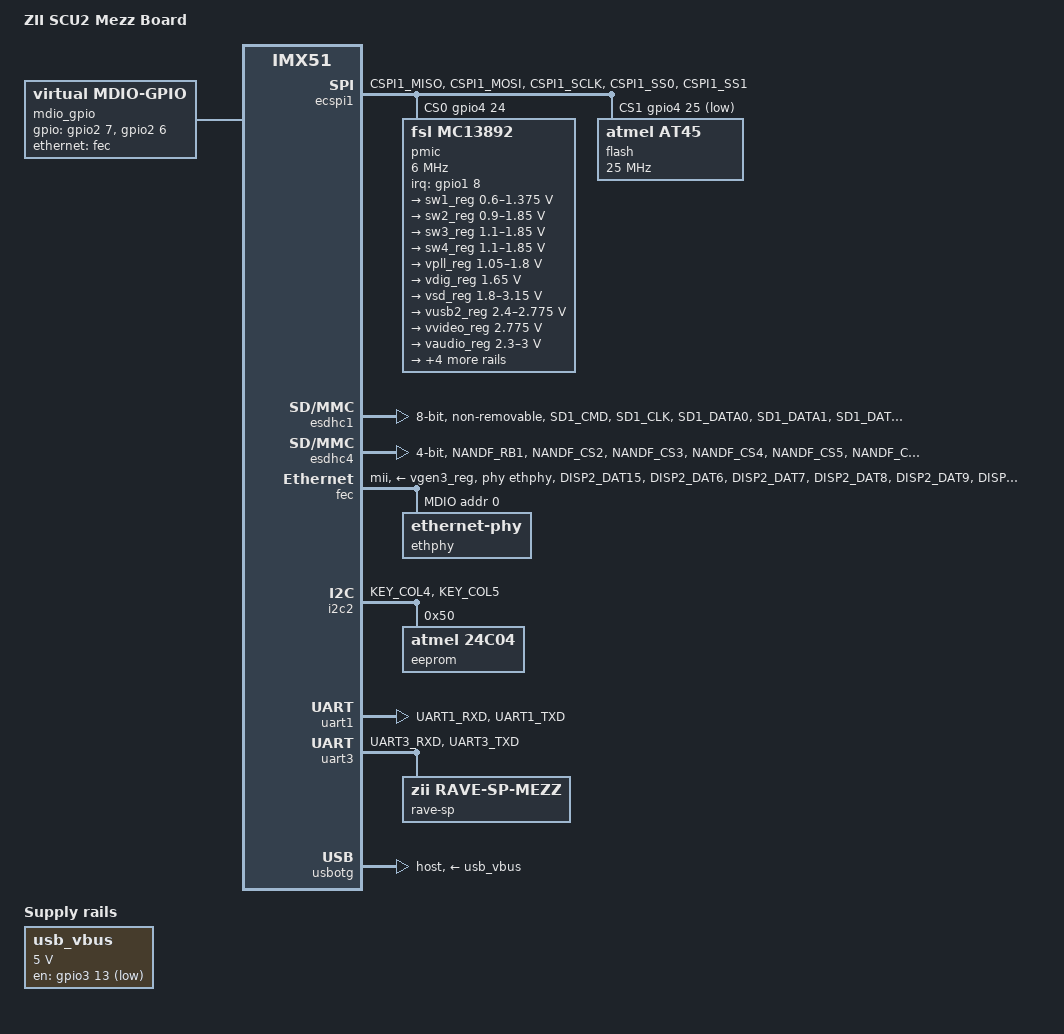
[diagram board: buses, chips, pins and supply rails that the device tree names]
// SPDX-License-Identifier: (GPL-2.0 OR MIT)

/*
 * Copyright (C) 2018 Zodiac Inflight Innovations
 */

/dts-v1/;

#include "imx51.dtsi"

/ {
	model = "ZII SCU2 Mezz Board";
	compatible = "zii,imx51-scu2-mezz", "fsl,imx51";

	chosen {
		stdout-path = &uart1;
	};

	/* Will be filled by the bootloader */
	memory@90000000 {
		reg = <0x90000000 0>;
	};

	aliases {
		mdio-gpio0 = &mdio_gpio;
	};

	usb_vbus: regulator-usb-vbus {
		compatible = "regulator-fixed";
		pinctrl-names = "default";
		pinctrl-0 = <&pinctrl_usb_mmc_reset>;
		gpio = <&gpio3 13 GPIO_ACTIVE_LOW>;
		startup-delay-us = <150000>;
		regulator-name = "usb_vbus";
		regulator-min-microvolt = <5000000>;
		regulator-max-microvolt = <5000000>;
	};

	mdio_gpio: mdio-gpio {
		compatible = "virtual,mdio-gpio";
		pinctrl-names = "default";
		pinctrl-0 = <&pinctrl_swmdio>;
		gpios = <&gpio2 7 GPIO_ACTIVE_HIGH>, /* mdc */
			<&gpio2 6 GPIO_ACTIVE_HIGH>; /* mdio */
		#address-cells = <1>;
		#size-cells = <0>;

		switch@0 {
			compatible = "marvell,mv88e6085";
			reg = <0>;
			dsa,member = <0 0>;
			eeprom-length = <512>;
			interrupt-parent = <&gpio1>;
			interrupts = <7 IRQ_TYPE_LEVEL_LOW>;
			interrupt-controller;
			#interrupt-cells = <2>;

			ports {
				#address-cells = <1>;
				#size-cells = <0>;

				port@0 {
					reg = <0>;
					label = "port4";
				};

				port@1 {
					reg = <1>;
					label = "port5";
				};

				port@2 {
					reg = <2>;
					label = "port6";
				};

				port@3 {
					reg = <3>;
					label = "port7";
				};

				port@4 {
					reg = <4>;
					label = "cpu";
					ethernet = <&fec>;

					fixed-link {
						speed = <100>;
						full-duplex;
					};
				};

				port@5 {
					reg = <5>;
					label = "mezz2esb";
					phy-mode = "sgmii";

					fixed-link {
						speed = <1000>;
						full-duplex;
					};
				};
			};
		};
	};
};

&cpu {
	cpu-supply = <&sw1_reg>;
};

&ecspi1 {
	pinctrl-names = "default";
	pinctrl-0 = <&pinctrl_ecspi1>;
	cs-gpios = <&gpio4 24 GPIO_ACTIVE_HIGH>,
		   <&gpio4 25 GPIO_ACTIVE_LOW>;
	status = "okay";

	pmic@0 {
		compatible = "fsl,mc13892";
		pinctrl-names = "default";
		pinctrl-0 = <&pinctrl_pmic>;
		spi-max-frequency = <6000000>;
		spi-cs-high;
		reg = <0>;
		interrupt-parent = <&gpio1>;
		interrupts = <8 IRQ_TYPE_LEVEL_HIGH>;
		fsl,mc13xxx-uses-adc;

		regulators {
			sw1_reg: sw1 {
				regulator-min-microvolt = <600000>;
				regulator-max-microvolt = <1375000>;
				regulator-boot-on;
				regulator-always-on;
			};

			sw2_reg: sw2 {
				regulator-min-microvolt = <900000>;
				regulator-max-microvolt = <1850000>;
				regulator-boot-on;
				regulator-always-on;
			};

			sw3_reg: sw3 {
				regulator-min-microvolt = <1100000>;
				regulator-max-microvolt = <1850000>;
				regulator-boot-on;
				regulator-always-on;
			};

			sw4_reg: sw4 {
				regulator-min-microvolt = <1100000>;
				regulator-max-microvolt = <1850000>;
				regulator-boot-on;
				regulator-always-on;
			};

			vpll_reg: vpll {
				regulator-min-microvolt = <1050000>;
				regulator-max-microvolt = <1800000>;
				regulator-boot-on;
				regulator-always-on;
			};

			vdig_reg: vdig {
				regulator-min-microvolt = <1650000>;
				regulator-max-microvolt = <1650000>;
				regulator-boot-on;
			};

			vsd_reg: vsd {
				regulator-min-microvolt = <1800000>;
				regulator-max-microvolt = <3150000>;
				regulator-always-on;
			};

			vusb_reg: vusb {
				regulator-always-on;
			};

			vusb2_reg: vusb2 {
				regulator-min-microvolt = <2400000>;
				regulator-max-microvolt = <2775000>;
				regulator-boot-on;
				regulator-always-on;
			};

			vvideo_reg: vvideo {
				regulator-min-microvolt = <2775000>;
				regulator-max-microvolt = <2775000>;
			};

			vaudio_reg: vaudio {
				regulator-min-microvolt = <2300000>;
				regulator-max-microvolt = <3000000>;
			};

			vcam_reg: vcam {
				regulator-min-microvolt = <2500000>;
				regulator-max-microvolt = <3000000>;
			};

			vgen1_reg: vgen1 {
				regulator-min-microvolt = <1200000>;
				regulator-max-microvolt = <1200000>;
			};

			vgen2_reg: vgen2 {
				regulator-min-microvolt = <1200000>;
				regulator-max-microvolt = <3150000>;
				regulator-always-on;
			};

			vgen3_reg: vgen3 {
				regulator-min-microvolt = <1800000>;
				regulator-max-microvolt = <2900000>;
				regulator-always-on;
			};
		};

		leds {
			#address-cells = <1>;
			#size-cells = <0>;
			led-control = <0x0 0x0 0x3f83f8 0x0>;

			sysled3: led3@3 {
				reg = <3>;
				label = "system:red:power";
				linux,default-trigger = "default-on";
			};

			sysled4: led4@4 {
				reg = <4>;
				label = "system:green:act";
				linux,default-trigger = "heartbeat";
			};
		};
	};

	flash@1 {
		compatible = "atmel,at45", "atmel,dataflash";
		reg = <1>;
		spi-max-frequency = <25000000>;
	};
};

&esdhc1 {
	pinctrl-names = "default";
	pinctrl-0 = <&pinctrl_esdhc1>;
	bus-width = <8>;
	non-removable;
	no-1-8-v;
	no-sdio;
	no-sd;
	status = "okay";
};

&esdhc4 {
	pinctrl-names = "default";
	pinctrl-0 = <&pinctrl_esdhc4>;
	bus-width = <4>;
	no-1-8-v;
	no-sdio;
	cd-gpios = <&gpio4 8 GPIO_ACTIVE_LOW>;
	status = "okay";
};

&fec {
	pinctrl-names = "default";
	pinctrl-0 = <&pinctrl_fec>;
	phy-mode = "mii";
	status = "okay";
	phy-reset-gpios = <&gpio2 14 GPIO_ACTIVE_LOW>;
	phy-reset-duration = <1>;
	phy-supply = <&vgen3_reg>;
	phy-handle = <&ethphy>;

	mdio {
		#address-cells = <1>;
		#size-cells = <0>;

		ethphy: ethernet-phy@0 {
			reg = <0>;
			max-speed = <100>;
		};
	};
};

&i2c2 {
	pinctrl-names = "default";
	pinctrl-0 = <&pinctrl_i2c2>;
	status = "okay";

	eeprom@50 {
		compatible = "atmel,24c04";
		pagesize = <16>;
		reg = <0x50>;
	};
};

&uart1 {
	pinctrl-names = "default";
	pinctrl-0 = <&pinctrl_uart1>;
	status = "okay";
};

&uart3 {
	pinctrl-names = "default";
	pinctrl-0 = <&pinctrl_uart3>;
	status = "okay";

	rave-sp {
		compatible = "zii,rave-sp-mezz";
		current-speed = <57600>;
		#address-cells = <1>;
		#size-cells = <1>;

		watchdog {
			compatible = "zii,rave-sp-watchdog-legacy";
		};

		eeprom@a4 {
			compatible = "zii,rave-sp-eeprom";
			reg = <0xa4 0x4000>;
			#address-cells = <1>;
			#size-cells = <1>;
			zii,eeprom-name = "main-eeprom";
		};
	};
};

&usbotg {
	dr_mode = "host";
	disable-over-current;
	phy_type = "utmi_wide";
	vbus-supply = <&usb_vbus>;
	status = "okay";
};

&usbphy0 {
	vcc-supply = <&vusb2_reg>;
};

&iomuxc {
	pinctrl_ecspi1: ecspi1grp {
		fsl,pins = <
			MX51_PAD_CSPI1_MISO__ECSPI1_MISO	0x185
			MX51_PAD_CSPI1_MOSI__ECSPI1_MOSI	0x185
			MX51_PAD_CSPI1_SCLK__ECSPI1_SCLK	0x185
			MX51_PAD_CSPI1_SS0__GPIO4_24		0x85
			MX51_PAD_CSPI1_SS1__GPIO4_25		0x85
		>;
	};

	pinctrl_esdhc1: esdhc1grp {
		fsl,pins = <
			MX51_PAD_SD1_CMD__SD1_CMD		0x400020d5
			MX51_PAD_SD1_CLK__SD1_CLK		0x20d5
			MX51_PAD_SD1_DATA0__SD1_DATA0		0x20d5
			MX51_PAD_SD1_DATA1__SD1_DATA1		0x20d5
			MX51_PAD_SD1_DATA2__SD1_DATA2		0x20d5
			MX51_PAD_SD1_DATA3__SD1_DATA3		0x20d5
			MX51_PAD_SD2_DATA0__SD1_DAT4		0x20d5
			MX51_PAD_SD2_DATA1__SD1_DAT5		0x20d5
			MX51_PAD_SD2_DATA2__SD1_DAT6		0x20d5
			MX51_PAD_SD2_DATA3__SD1_DAT7		0x20d5
		>;
	};

	pinctrl_esdhc4: esdhc4grp {
		fsl,pins = <
			MX51_PAD_NANDF_RB1__SD4_CMD		0x400020d5
			MX51_PAD_NANDF_CS2__SD4_CLK		0x20d5
			MX51_PAD_NANDF_CS3__SD4_DAT0		0x20d5
			MX51_PAD_NANDF_CS4__SD4_DAT1		0x20d5
			MX51_PAD_NANDF_CS5__SD4_DAT2		0x20d5
			MX51_PAD_NANDF_CS6__SD4_DAT3		0x20d5
			MX51_PAD_NANDF_D0__GPIO4_8		0x100
		>;
	};

	pinctrl_fec: fecgrp {
		fsl,pins = <
			MX51_PAD_DISP2_DAT15__FEC_TDATA0	0x2004
			MX51_PAD_DISP2_DAT6__FEC_TDATA1		0x2004
			MX51_PAD_DISP2_DAT7__FEC_TDATA2		0x2004
			MX51_PAD_DISP2_DAT8__FEC_TDATA3		0x2004
			MX51_PAD_DISP2_DAT9__FEC_TX_EN		0x2004
			MX51_PAD_DISP2_DAT10__FEC_COL		0x0180
			MX51_PAD_DISP2_DAT11__FEC_RX_CLK	0x0180
			MX51_PAD_DISP2_DAT12__FEC_RX_DV		0x20a4
			MX51_PAD_DISP2_DAT1__FEC_RX_ER		0x20a4
			MX51_PAD_DISP2_DAT13__FEC_TX_CLK	0x2180
			MX51_PAD_DI_GP3__FEC_TX_ER		0x2004
			MX51_PAD_DISP2_DAT14__FEC_RDATA0	0x2180
			MX51_PAD_DI2_DISP_CLK__FEC_RDATA1	0x0085
			MX51_PAD_DI_GP4__FEC_RDATA2		0x0085
			MX51_PAD_DISP2_DAT0__FEC_RDATA3		0x0085
			MX51_PAD_DI2_PIN2__FEC_MDC		0x2004
			MX51_PAD_DI2_PIN3__FEC_MDIO		0x01f5
			MX51_PAD_DI2_PIN4__FEC_CRS		0x0180
			MX51_PAD_EIM_A20__GPIO2_14		0x0085
			MX51_PAD_EIM_A21__GPIO2_15		0x00e5
		>;
	};

	pinctrl_i2c2: i2c2grp {
		fsl,pins = <
			MX51_PAD_KEY_COL4__I2C2_SCL		0x400001ed
			MX51_PAD_KEY_COL5__I2C2_SDA		0x400001ed
		>;
	};

	pinctrl_pmic: pmicgrp {
		fsl,pins = <
			MX51_PAD_GPIO1_4__GPIO1_4		0x85
			MX51_PAD_GPIO1_8__GPIO1_8		0xe5
		>;
	};

	pinctrl_swmdio: swmdiogrp {
		fsl,pins = <
			MX51_PAD_EIM_D22__GPIO2_6		0x100
			MX51_PAD_EIM_D23__GPIO2_7		0x100
		>;
	};

	pinctrl_uart1: uart1grp {
		fsl,pins = <
			MX51_PAD_UART1_RXD__UART1_RXD		0x1c5
			MX51_PAD_UART1_TXD__UART1_TXD		0x1c5
		>;
	};

	pinctrl_uart3: uart3grp {
		fsl,pins = <
			MX51_PAD_UART3_RXD__UART3_RXD		0x1c5
			MX51_PAD_UART3_TXD__UART3_TXD		0x1c5
		>;
	};

	pinctrl_usb_mmc_reset: usbmmcgrp {
		fsl,pins = <
			MX51_PAD_CSI1_D9__GPIO3_13		0x85
		>;
	};
};
